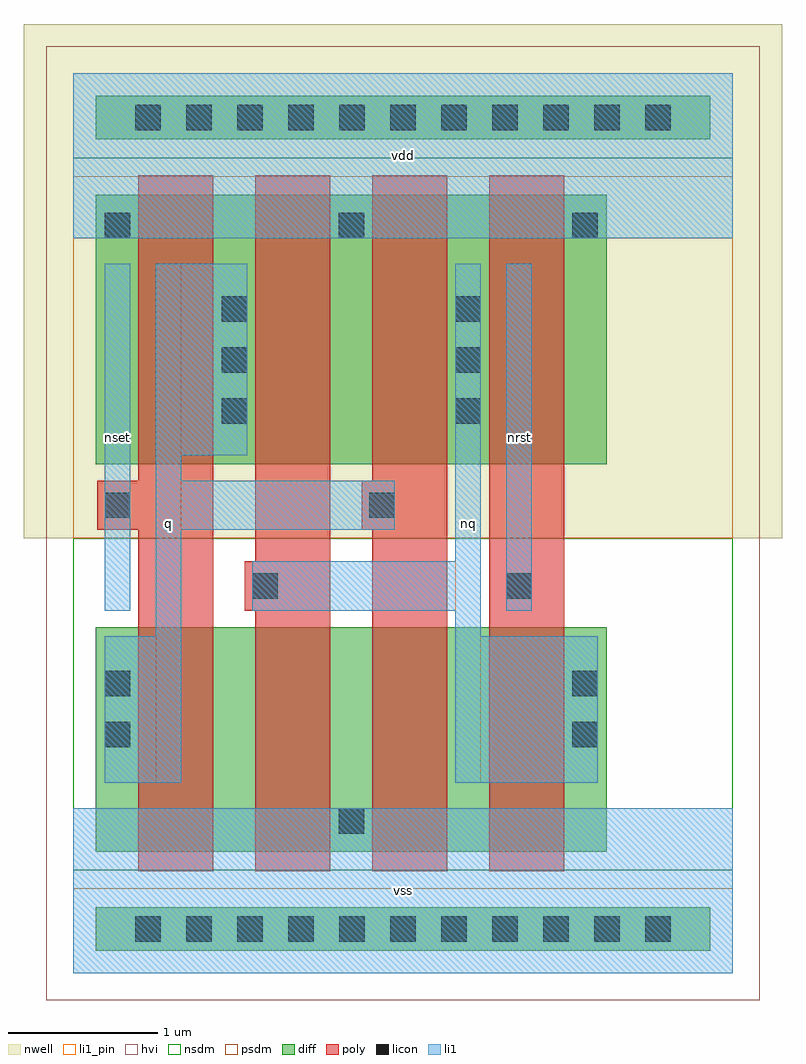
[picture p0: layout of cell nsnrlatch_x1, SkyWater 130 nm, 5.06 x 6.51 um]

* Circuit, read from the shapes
.subckt nsnrlatch_x1 nq nrst nset q vdd vss
XM1 n1 nset q VSUBS sky130_fd_pr__nfet_g5v0d10v5 w=1.495 l=0.5
XM2 vss nq n1 VSUBS sky130_fd_pr__nfet_g5v0d10v5 w=1.495 l=0.5
XM3 n2 q vss VSUBS sky130_fd_pr__nfet_g5v0d10v5 w=1.495 l=0.5
XM4 nq nrst n2 VSUBS sky130_fd_pr__nfet_g5v0d10v5 w=1.495 l=0.5
XM5 q nset vdd n3 sky130_fd_pr__pfet_g5v0d10v5 w=1.795 l=0.5
XM6 vdd nq q n3 sky130_fd_pr__pfet_g5v0d10v5 w=1.795 l=0.5
XM7 nq q vdd n3 sky130_fd_pr__pfet_g5v0d10v5 w=1.795 l=0.5
XM8 vdd nrst nq n3 sky130_fd_pr__pfet_g5v0d10v5 w=1.795 l=0.5
.ends

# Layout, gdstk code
import gdstk
lib = gdstk.Library(unit=1e-6, precision=1e-09)
def R(c, l, rs):  # rectangles x0, y0, x1, y1
    for r in rs: c.add(gdstk.rectangle(r[:2], r[2:], *l))
def A(c, l, x, y, w, h, nx, ny, dx, dy):  # array of equal rectangles
    R(c, l, [(x+i*dx, y+j*dy, x+i*dx+w, y+j*dy+h) for i in range(nx) for j in range(ny)])
def P(c, l, *ps):  # polygons
    for p in ps: c.add(gdstk.Polygon(p, *l))
nwell = (64, 20)
diff = (65, 20)
poly = (66, 20)
licon = (66, 44)
li1_pin = (67, 16)
li1 = (67, 20)
hvi = (75, 20)
nsdm = (93, 44)
psdm = (94, 20)

nsnrlatch_x1 = lib.new_cell('nsnrlatch_x1')
R(nsnrlatch_x1, nwell, [(-0.33,2.9,4.73,6.33)])
R(nsnrlatch_x1, diff, [(0.15,0.15,4.25,0.44), (0.15,0.81,3.56,2.305), (0.15,3.395,3.56,5.19), (0.15,5.56,4.25,5.85)])
R(nsnrlatch_x1, poly, [(2.775,0.68,3.275,5.32), (1.28,2.415,1.465,2.745), (2.975,2.415,3.025,2.745)])
P(nsnrlatch_x1, poly, [(1.995,0.68),(1.995,2.955),(1.925,2.955),(1.925,3.285),(1.995,3.285),(1.995,5.32),(2.495,5.32),(2.495,0.68)],
  [(0.435,0.68),(0.435,2.955),(0.16,2.955),(0.16,3.285),(0.435,3.285),(0.435,5.32),(0.935,5.32),(0.935,0.68)],
  [(1.215,0.68),(1.215,2.415),(1.145,2.415),(1.145,2.745),(1.215,2.745),(1.215,5.32),(1.715,5.32),(1.715,0.68)])
A(nsnrlatch_x1, licon, 0.415, 0.21, 0.17, 0.17, 11, 2, 0.34, 5.41)
A(nsnrlatch_x1, licon, 0.99, 3.665, 0.17, 0.17, 1, 3, 0, 0.34)
A(nsnrlatch_x1, licon, 2.55, 3.665, 0.17, 0.17, 1, 3, 0, 0.34)
A(nsnrlatch_x1, licon, 0.21, 4.9, 0.17, 0.17, 3, 1, 1.56, 0)
R(nsnrlatch_x1, licon, [(1.77,0.93,1.94,1.1), (0.21,1.505,0.38,1.675), (3.33,1.505,3.5,1.675), (0.21,1.845,0.38,2.015), (3.33,1.845,3.5,2.015), (1.195,2.495,1.365,2.665), (2.89,2.495,3.06,2.665), (0.21,3.035,0.38,3.205), (1.975,3.035,2.145,3.205)])
R(nsnrlatch_x1, li1_pin, [(0,0,4.4,1.1), (0.55,1.27,0.72,4.73), (2.55,1.27,2.72,4.73), (0.21,2.415,0.38,4.73), (2.89,2.415,3.06,4.73), (0,4.9,4.4,6)])
R(nsnrlatch_x1, li1, [(0,0,4.4,1.1), (0.21,2.415,0.38,4.73), (2.89,2.415,3.06,4.73), (0,4.9,4.4,6)])
P(nsnrlatch_x1, li1, [(0.21,1.27),(0.21,2.245),(0.55,2.245),(0.55,4.73),(1.16,4.73),(1.16,3.455),(0.72,3.455),(0.72,3.285),(2.145,3.285),(2.145,2.955),(0.72,2.955),(0.72,1.27)],
  [(2.55,1.27),(2.55,2.415),(1.195,2.415),(1.195,2.745),(2.55,2.745),(2.55,4.73),(2.72,4.73),(2.72,2.245),(3.5,2.245),(3.5,1.27)])
R(nsnrlatch_x1, hvi, [(-0.18,-0.18,4.58,6.18)])
R(nsnrlatch_x1, nsdm, [(0,0.685,4.4,2.9), (0,5.435,4.4,6)])
R(nsnrlatch_x1, psdm, [(0,0,4.4,0.565), (0,2.9,4.4,5.315)])
nsnrlatch_x1.add(gdstk.Label('q', (0.635,3), layer=67, texttype=16))
nsnrlatch_x1.add(gdstk.Label('vdd', (2.2,5.45), layer=67, texttype=16))
nsnrlatch_x1.add(gdstk.Label('vss', (2.2,0.55), layer=67, texttype=16))
nsnrlatch_x1.add(gdstk.Label('nset', (0.295,3.573), layer=67, texttype=16))
nsnrlatch_x1.add(gdstk.Label('nq', (2.635,3), layer=67, texttype=16))
nsnrlatch_x1.add(gdstk.Label('nrst', (2.975,3.573), layer=67, texttype=16))

lib.write_gds('nsnrlatch_x1.gds')
